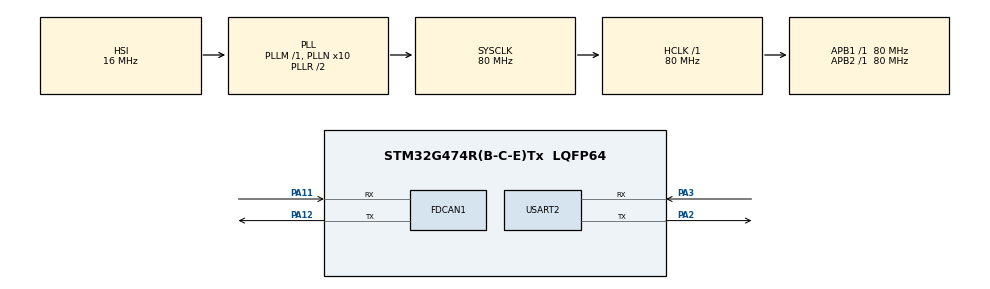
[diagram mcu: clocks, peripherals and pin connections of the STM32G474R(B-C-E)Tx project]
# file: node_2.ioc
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FDCAN1.CalculateBaudRateNominal=1000000
FDCAN1.CalculateTimeBitNominal=1000
FDCAN1.CalculateTimeQuantumNominal=50.0
FDCAN1.NominalPrescaler=4
FDCAN1.NominalTimeSeg1=15
FDCAN1.NominalTimeSeg2=4
Mcu.Family=STM32G4
Mcu.Name=STM32G474R(B-C-E)Tx
Mcu.Package=LQFP64
NVIC.PriorityGroup=NVIC_PRIORITYGROUP_4
PA11.Mode=FDCAN_Activate
PA11.Signal=FDCAN1_RX
PA12.Mode=FDCAN_Activate
PA12.Signal=FDCAN1_TX
PA2.Mode=Asynchronous
PA2.Signal=USART2_TX
PA3.Mode=Asynchronous
PA3.Signal=USART2_RX
ProjectManager.HeapSize=0x200
ProjectManager.StackSize=0x400
ProjectManager.TargetToolchain=STM32CubeIDE
RCC.ADC12Freq_Value=80000000
RCC.ADC345Freq_Value=80000000
RCC.AHBFreq_Value=80000000
RCC.APB1Freq_Value=80000000
RCC.APB1TimFreq_Value=80000000
RCC.APB2Freq_Value=80000000
RCC.APB2TimFreq_Value=80000000
RCC.CortexFreq_Value=80000000
RCC.EXTERNAL_CLOCK_VALUE=12288000
RCC.HCLKFreq_Value=80000000
RCC.HSE_VALUE=8000000
RCC.HSI48_VALUE=48000000
RCC.HSI_VALUE=16000000
RCC.LSE_VALUE=32768
RCC.PLLN=10
RCC.SYSCLKFreq_VALUE=80000000
RCC.SYSCLKSource=RCC_SYSCLKSOURCE_PLLCLK
RCC.USBFreq_Value=80000000
RCC.VCOOutputFreq_Value=160000000
USART2.VirtualMode-Asynchronous=VM_ASYNC
board=custom

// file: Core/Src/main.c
/* USER CODE BEGIN Header */
/**
  ******************************************************************************
  * @file           : main.c
  * @brief          : Main program body
  ******************************************************************************
  * @attention
  *
  * Copyright (c) 2024 STMicroelectronics.
  * All rights reserved.
  *
  * This software is licensed under terms that can be found in the LICENSE file
  * in the root directory of this software component.
  * If no LICENSE file comes with this software, it is provided AS-IS.
  *
  ******************************************************************************
  */
/* USER CODE END Header */
#include "main.h"

/* USER CODE BEGIN Includes */
#include <stdio.h>
/* USER CODE END Includes */

FDCAN_HandleTypeDef hfdcan1;

UART_HandleTypeDef huart2;

/* USER CODE BEGIN PV */

// For CAN
FDCAN_TxHeaderTypeDef  TxHeader;
FDCAN_RxHeaderTypeDef  RxHeader;
FDCAN_FilterTypeDef  sFilterConfig;

uint8_t               TxData[8] = {1, 1, 1, 0, 1, 1, 0, 0};
uint8_t               RxData[8];
uint32_t              TxMailbox;

/* USER CODE END PV */

void SystemClock_Config(void);
static void MX_GPIO_Init(void);
static void MX_USART2_UART_Init(void);
static void MX_FDCAN1_Init(void);

/* USER CODE BEGIN 0 */
int _write(int file, char *ptr, int len)
{
	HAL_UART_Transmit(&huart2, (uint8_t *)ptr, len, 10);
	return len;
}

void sendCANMessage(uint32_t canId, uint8_t *txData, uint32_t dataLength) {
	if (txData == NULL) {
		Error_Handler();
	}

	// Set cAN Header
    TxHeader.Identifier = canId;
    TxHeader.IdType = FDCAN_STANDARD_ID;
    TxHeader.TxFrameType = FDCAN_DATA_FRAME;
    TxHeader.DataLength = FDCAN_DLC_BYTES_8; // To do: Change to arg
    TxHeader.ErrorStateIndicator = FDCAN_ESI_ACTIVE;
    TxHeader.BitRateSwitch = FDCAN_BRS_ON;
    TxHeader.FDFormat = FDCAN_FD_CAN;
    TxHeader.TxEventFifoControl = FDCAN_NO_TX_EVENTS;
    TxHeader.MessageMarker = 0;

    // Send CAN Message
    if (HAL_FDCAN_AddMessageToTxFifoQ(&hfdcan1, &TxHeader, TxData) != HAL_OK)
    {
    	Error_Handler();
    }

    // Wait until buffer size smaller than 3
//    while(HAL_FDCAN_GetTxFifoFreeLevel(&hfdcan1) != 3) {} // To do : Check can transceiver size
}

// CAN Callback settings
void HAL_FDCAN_RxFifo0Callback(FDCAN_HandleTypeDef *hfdcan1, uint32_t RxFifo0ITs) {
    if ((RxFifo0ITs & FDCAN_IT_RX_FIFO0_NEW_MESSAGE) != RESET) {
        /* Retrieve Rx messages from RX FIFO0 */
        if (HAL_FDCAN_GetRxMessage(hfdcan1, FDCAN_RX_FIFO0, &RxHeader, RxData) != HAL_OK) {
            Error_Handler();
        }

        if ((RxHeader.Identifier == 0x001)) {
        	printf("Get Message!!!");
        }
    }
}

/* USER CODE END 0 */

int main(void)
{

  /* MCU Configuration--------------------------------------------------------*/

  /* Reset of all peripherals, Initializes the Flash interface and the Systick. */
  HAL_Init();

  /* Configure the system clock */
  SystemClock_Config();

  /* Initialize all configured peripherals */
  MX_GPIO_Init();
  MX_USART2_UART_Init();
  MX_FDCAN1_Init();
  /* USER CODE BEGIN 2 */

  // CAN Filter Settings
  sFilterConfig.IdType = FDCAN_STANDARD_ID;
  sFilterConfig.FilterIndex = 0;
  sFilterConfig.FilterType = FDCAN_FILTER_MASK;
  sFilterConfig.FilterConfig = FDCAN_FILTER_TO_RXFIFO0;
  sFilterConfig.FilterID1 = 0x000;
  sFilterConfig.FilterID2 = 0x000;

  if (HAL_FDCAN_ConfigFilter(&hfdcan1, &sFilterConfig) != HAL_OK){
	  Error_Handler();
  }
  if (HAL_FDCAN_ConfigGlobalFilter(&hfdcan1, FDCAN_REJECT, FDCAN_REJECT, FDCAN_FILTER_REMOTE, FDCAN_FILTER_REMOTE) != HAL_OK) {
      Error_Handler();
  }

  // start CAN
  if (HAL_FDCAN_Start(&hfdcan1) != HAL_OK){ Error_Handler();}

  // CAN reception settings
  if (HAL_FDCAN_ActivateNotification(&hfdcan1, FDCAN_IT_RX_FIFO0_NEW_MESSAGE, 0) != HAL_OK)
  {
     Error_Handler();
  }

//  txData[8] = {1, 1, 1, 0, 1, 1, 0, 0};

  /* USER CODE END 2 */

  /* Infinite loop */
  /* USER CODE BEGIN WHILE */
  while (1)
  {
	sendCANMessage((uint32_t)0x004, TxData, FDCAN_DLC_BYTES_8);
	//printf("Send Message\r\n");
	HAL_Delay(10);
    /* USER CODE END WHILE */

  }
}

void SystemClock_Config(void)
{
  RCC_OscInitTypeDef RCC_OscInitStruct = {0};
  RCC_ClkInitTypeDef RCC_ClkInitStruct = {0};

  /** Configure the main internal regulator output voltage
  */
  HAL_PWREx_ControlVoltageScaling(PWR_REGULATOR_VOLTAGE_SCALE1);

  /** Initializes the RCC Oscillators according to the specified parameters
  * in the RCC_OscInitTypeDef structure.
  */
  RCC_OscInitStruct.OscillatorType = RCC_OSCILLATORTYPE_HSI;
  RCC_OscInitStruct.HSIState = RCC_HSI_ON;
  RCC_OscInitStruct.HSICalibrationValue = RCC_HSICALIBRATION_DEFAULT;
  RCC_OscInitStruct.PLL.PLLState = RCC_PLL_ON;
  RCC_OscInitStruct.PLL.PLLSource = RCC_PLLSOURCE_HSI;
  RCC_OscInitStruct.PLL.PLLM = RCC_PLLM_DIV1;
  RCC_OscInitStruct.PLL.PLLN = 10;
  RCC_OscInitStruct.PLL.PLLP = RCC_PLLP_DIV2;
  RCC_OscInitStruct.PLL.PLLQ = RCC_PLLQ_DIV2;
  RCC_OscInitStruct.PLL.PLLR = RCC_PLLR_DIV2;
  if (HAL_RCC_OscConfig(&RCC_OscInitStruct) != HAL_OK)
  {
    Error_Handler();
  }

  /** Initializes the CPU, AHB and APB buses clocks
  */
  RCC_ClkInitStruct.ClockType = RCC_CLOCKTYPE_HCLK|RCC_CLOCKTYPE_SYSCLK
                              |RCC_CLOCKTYPE_PCLK1|RCC_CLOCKTYPE_PCLK2;
  RCC_ClkInitStruct.SYSCLKSource = RCC_SYSCLKSOURCE_PLLCLK;
  RCC_ClkInitStruct.AHBCLKDivider = RCC_SYSCLK_DIV1;
  RCC_ClkInitStruct.APB1CLKDivider = RCC_HCLK_DIV1;
  RCC_ClkInitStruct.APB2CLKDivider = RCC_HCLK_DIV1;

  if (HAL_RCC_ClockConfig(&RCC_ClkInitStruct, FLASH_LATENCY_2) != HAL_OK)
  {
    Error_Handler();
  }
}

static void MX_FDCAN1_Init(void)
{

  hfdcan1.Instance = FDCAN1;
  hfdcan1.Init.ClockDivider = FDCAN_CLOCK_DIV1;
  hfdcan1.Init.FrameFormat = FDCAN_FRAME_CLASSIC;
  hfdcan1.Init.Mode = FDCAN_MODE_NORMAL;
  hfdcan1.Init.AutoRetransmission = DISABLE;
  hfdcan1.Init.TransmitPause = DISABLE;
  hfdcan1.Init.ProtocolException = DISABLE;
  hfdcan1.Init.NominalPrescaler = 4;
  hfdcan1.Init.NominalSyncJumpWidth = 1;
  hfdcan1.Init.NominalTimeSeg1 = 15;
  hfdcan1.Init.NominalTimeSeg2 = 4;
  hfdcan1.Init.DataPrescaler = 1;
  hfdcan1.Init.DataSyncJumpWidth = 1;
  hfdcan1.Init.DataTimeSeg1 = 1;
  hfdcan1.Init.DataTimeSeg2 = 1;
  hfdcan1.Init.StdFiltersNbr = 0;
  hfdcan1.Init.ExtFiltersNbr = 0;
  hfdcan1.Init.TxFifoQueueMode = FDCAN_TX_FIFO_OPERATION;
  if (HAL_FDCAN_Init(&hfdcan1) != HAL_OK)
  {
    Error_Handler();
  }

}

static void MX_USART2_UART_Init(void)
{

  huart2.Instance = USART2;
  huart2.Init.BaudRate = 115200;
  huart2.Init.WordLength = UART_WORDLENGTH_8B;
  huart2.Init.StopBits = UART_STOPBITS_1;
  huart2.Init.Parity = UART_PARITY_NONE;
  huart2.Init.Mode = UART_MODE_TX_RX;
  huart2.Init.HwFlowCtl = UART_HWCONTROL_NONE;
  huart2.Init.OverSampling = UART_OVERSAMPLING_16;
  huart2.Init.OneBitSampling = UART_ONE_BIT_SAMPLE_DISABLE;
  huart2.Init.ClockPrescaler = UART_PRESCALER_DIV1;
  huart2.AdvancedInit.AdvFeatureInit = UART_ADVFEATURE_NO_INIT;
  if (HAL_UART_Init(&huart2) != HAL_OK)
  {
    Error_Handler();
  }
  if (HAL_UARTEx_SetTxFifoThreshold(&huart2, UART_TXFIFO_THRESHOLD_1_8) != HAL_OK)
  {
    Error_Handler();
  }
  if (HAL_UARTEx_SetRxFifoThreshold(&huart2, UART_RXFIFO_THRESHOLD_1_8) != HAL_OK)
  {
    Error_Handler();
  }
  if (HAL_UARTEx_DisableFifoMode(&huart2) != HAL_OK)
  {
    Error_Handler();
  }

}

static void MX_GPIO_Init(void)
{

  /* GPIO Ports Clock Enable */
  __HAL_RCC_GPIOA_CLK_ENABLE();

}

void Error_Handler(void)
{
  /* USER CODE BEGIN Error_Handler_Debug */
  /* User can add his own implementation to report the HAL error return state */
  __disable_irq();
  while (1)
  {
	  printf("Error Handling");
  }
  /* USER CODE END Error_Handler_Debug */
}
